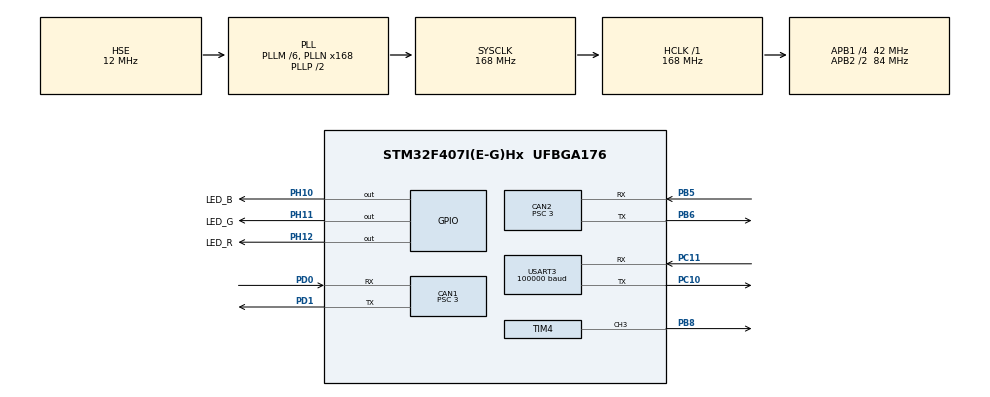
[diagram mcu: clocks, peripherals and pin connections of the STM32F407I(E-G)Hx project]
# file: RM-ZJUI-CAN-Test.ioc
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CAN1.BS1=CAN_BS1_10TQ
CAN1.BS2=CAN_BS2_3TQ
CAN1.CalculateBaudRate=1000000
CAN1.CalculateTimeBit=1000
CAN1.CalculateTimeQuantum=71.42857142857143
CAN1.Prescaler=3
CAN2.BS1=CAN_BS1_10TQ
CAN2.BS2=CAN_BS2_3TQ
CAN2.CalculateBaudRate=1000000
CAN2.CalculateTimeBit=1000
CAN2.CalculateTimeQuantum=71.42857142857143
CAN2.Prescaler=3
Dma.Request0=USART3_RX
Dma.USART3_RX.0.Direction=DMA_PERIPH_TO_MEMORY
Dma.USART3_RX.0.FIFOMode=DMA_FIFOMODE_DISABLE
Dma.USART3_RX.0.Instance=DMA1_Stream1
Dma.USART3_RX.0.MemDataAlignment=DMA_MDATAALIGN_BYTE
Dma.USART3_RX.0.MemInc=DMA_MINC_ENABLE
Dma.USART3_RX.0.Mode=DMA_NORMAL
Dma.USART3_RX.0.PeriphDataAlignment=DMA_PDATAALIGN_BYTE
Dma.USART3_RX.0.PeriphInc=DMA_PINC_DISABLE
Dma.USART3_RX.0.Priority=DMA_PRIORITY_VERY_HIGH
Mcu.Family=STM32F4
Mcu.Name=STM32F407I(E-G)Hx
Mcu.Package=UFBGA176
NVIC.CAN1_RX0_IRQn=true\:0\:0\:false\:false\:true\:true\:true\:true
NVIC.CAN1_RX1_IRQn=true\:0\:0\:false\:false\:true\:true\:true\:true
NVIC.CAN2_RX0_IRQn=true\:0\:0\:false\:false\:true\:true\:true\:true
NVIC.CAN2_RX1_IRQn=true\:0\:0\:false\:false\:true\:true\:true\:true
NVIC.DMA1_Stream1_IRQn=true\:0\:0\:false\:false\:true\:false\:true\:true
NVIC.PriorityGroup=NVIC_PRIORITYGROUP_4
NVIC.TIM2_IRQn=true\:0\:0\:false\:false\:true\:true\:true\:true
NVIC.TIM3_IRQn=true\:0\:0\:false\:false\:true\:true\:true\:true
NVIC.TIM7_IRQn=true\:0\:0\:false\:false\:true\:true\:true\:true
NVIC.USART3_IRQn=true\:0\:0\:false\:false\:true\:true\:true\:true
PA13.Mode=Serial_Wire
PA13.Signal=SYS_JTMS-SWDIO
PA14.Mode=Serial_Wire
PA14.Signal=SYS_JTCK-SWCLK
PB5.Mode=CAN_Activate
PB5.Signal=CAN2_RX
PB6.Mode=CAN_Activate
PB6.Signal=CAN2_TX
PB8.Signal=S_TIM4_CH3
PC10.Mode=Asynchronous
PC10.Signal=USART3_TX
PC11.Mode=Asynchronous
PC11.Signal=USART3_RX
PD0.Mode=CAN_Activate
PD0.Signal=CAN1_RX
PD1.Mode=CAN_Activate
PD1.Signal=CAN1_TX
PH0-OSC_IN.Mode=HSE-External-Oscillator
PH0-OSC_IN.Signal=RCC_OSC_IN
PH1-OSC_OUT.Mode=HSE-External-Oscillator
PH1-OSC_OUT.Signal=RCC_OSC_OUT
PH10.GPIO_Label=LED_B
PH10.Signal=GPIO_Output
PH11.GPIO_Label=LED_G
PH11.Signal=GPIO_Output
PH12.GPIO_Label=LED_R
PH12.Signal=GPIO_Output
ProjectManager.HeapSize=0x200
ProjectManager.StackSize=0x400
ProjectManager.TargetToolchain=Makefile
RCC.48MHZClocksFreq_Value=84000000
RCC.AHBFreq_Value=168000000
RCC.APB1CLKDivider=RCC_HCLK_DIV4
RCC.APB1Freq_Value=42000000
RCC.APB1TimFreq_Value=84000000
RCC.APB2CLKDivider=RCC_HCLK_DIV2
RCC.APB2Freq_Value=84000000
RCC.APB2TimFreq_Value=168000000
RCC.CortexFreq_Value=168000000
RCC.HCLKFreq_Value=168000000
RCC.HSE_VALUE=12000000
RCC.HSI_VALUE=16000000
RCC.LSE_VALUE=32768
RCC.PLLM=6
RCC.PLLN=168
RCC.PLLSourceVirtual=RCC_PLLSOURCE_HSE
RCC.SYSCLKFreq_VALUE=168000000
RCC.SYSCLKSource=RCC_SYSCLKSOURCE_PLLCLK
RCC.VCOOutputFreq_Value=336000000
SH.S_TIM4_CH3.0=TIM4_CH3,PWM Generation3 CH3
TIM2.Period=1000-1
TIM2.Prescaler=84-1
TIM3.Period=1000-1
TIM3.Prescaler=84-1
TIM4.AutoReloadPreload=TIM_AUTORELOAD_PRELOAD_ENABLE
TIM4.Channel-PWM\ Generation3\ CH3=TIM_CHANNEL_3
TIM4.Period=21000
TIM4.Pulse-PWM\ Generation3\ CH3=10500
TIM7.Period=2000-1
TIM7.Prescaler=8400-1
USART3.BaudRate=100000
USART3.VirtualMode=VM_ASYNC
USART3.WordLength=WORDLENGTH_8B
VP_TIM2_VS_ClockSourceINT.Mode=Internal
VP_TIM3_VS_ClockSourceINT.Mode=Internal
VP_TIM7_VS_ClockSourceINT.Mode=Enable_Timer
board=custom

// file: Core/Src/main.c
/* USER CODE BEGIN Header */
/**
  ******************************************************************************
  * @file           : main.c
  * @brief          : Main program body
  ******************************************************************************
  * @attention
  *
  * Copyright (c) 2024 STMicroelectronics.
  * All rights reserved.
  *
  * This software is licensed under terms that can be found in the LICENSE file
  * in the root directory of this software component.
  * If no LICENSE file comes with this software, it is provided AS-IS.
  *
  ******************************************************************************
  */
/* USER CODE END Header */
#include "main.h"
#include "can.h"
#include "dma.h"
#include "tim.h"
#include "usart.h"
#include "gpio.h"

/* USER CODE BEGIN Includes */
#include "rc.h"
#include "motors.h"
#include "buzzer.h"
#include "pid.h"
/* USER CODE END Includes */

/* USER CODE BEGIN PV */
extern RC_Type rc;
extern float Shooter_Velocity[2]; // 单位: rpm
extern float Loader_Velocity;     // 单位: rpm
/* USER CODE END PV */

void SystemClock_Config(void);

int main(void)
{

  /* MCU Configuration--------------------------------------------------------*/

  /* Reset of all peripherals, Initializes the Flash interface and the Systick. */
  HAL_Init();

  /* Configure the system clock */
  SystemClock_Config();

  /* Initialize all configured peripherals */
  MX_GPIO_Init();
  MX_DMA_Init();
  MX_USART3_UART_Init();
  MX_CAN1_Init();
  MX_CAN2_Init();
  MX_TIM2_Init();
  MX_TIM3_Init();
  MX_TIM7_Init();
  MX_TIM4_Init();
  /* USER CODE BEGIN 2 */

  //GPIO 点灯
  HAL_GPIO_WritePin(GPIOH, LED_R_Pin, GPIO_PIN_RESET);
  HAL_GPIO_WritePin(GPIOH, LED_G_Pin, GPIO_PIN_RESET);
  HAL_GPIO_WritePin(GPIOH, LED_B_Pin, GPIO_PIN_RESET);

  // 亮红灯
  HAL_GPIO_WritePin(GPIOH, LED_R_Pin, GPIO_PIN_SET);

  // 初始化
  // Buzzer_beep();
  Dbus_Init();     // 初始化DJI遥控器
  Enable_Motors(); // 初始化DJI电机
  HAL_Delay(1000);

  // PID 参数填装
  pid_type_def shoot_pram_up;    // PID 初始化
  pid_type_def shoot_pram_down;  // PID 初始化
  pid_type_def shoot_pram_trig;  // PID 初始化
  static const float PID_ARG[3] = {80.0f,0.0f,30.0f};
  static const float PID_ARG_trig[3] = {50.0f,0.0f,40.0f};
  static const float PID_MAX_OUT = 1000.0f;
  static const float PID_MAX_IOUT = 0.0f;

  static const float shoot_rpm = 300; // 发射速度
  float load_rpm = 400.0f; // 装弹速度

  // PID 初始化
  PID_init(&shoot_pram_up, PID_POSITION, PID_ARG, PID_MAX_OUT, PID_MAX_IOUT);
  PID_init(&shoot_pram_down, PID_POSITION, PID_ARG, PID_MAX_OUT, PID_MAX_IOUT);
  PID_init(&shoot_pram_trig, PID_POSITION, PID_ARG_trig, 1000.0f, 0.0f);

  // 亮绿灯
  HAL_GPIO_WritePin(GPIOH, LED_R_Pin, GPIO_PIN_RESET);
  HAL_GPIO_WritePin(GPIOH, LED_G_Pin, GPIO_PIN_SET);

  /* USER CODE END 2 */

  /* Infinite loop */
  while (1)
  {

    /* USER CODE BEGIN 3 */

    if(rc.sw1 == 1){HAL_GPIO_WritePin(GPIOH,LED_B_Pin,GPIO_PIN_SET);}
    else{HAL_GPIO_WritePin(GPIOH,LED_B_Pin,GPIO_PIN_RESET);}
    HAL_GPIO_TogglePin(GPIOH,LED_G_Pin);

    // 8-下摩擦轮 (正方向)
    // 7-上摩擦轮 (负方向)
    // 6-拨弹盘

    PID_calc(&shoot_pram_up, Shooter_Velocity[0], shoot_rpm*-(rc.sw1/2));
    PID_calc(&shoot_pram_down, Shooter_Velocity[1], shoot_rpm*(rc.sw1/2));
    PID_calc(&shoot_pram_trig, Loader_Velocity, load_rpm*rc.RY);

    Gimbal_CAN_Tx(0,shoot_pram_trig.out,shoot_pram_up.out,shoot_pram_down.out); // 根据 CAN 分析仪发现没有发送 CAN 信号
    HAL_Delay(50);

  }
  /* USER CODE END 3 */
}

void SystemClock_Config(void)
{
  RCC_OscInitTypeDef RCC_OscInitStruct = {0};
  RCC_ClkInitTypeDef RCC_ClkInitStruct = {0};

  /** Configure the main internal regulator output voltage
  */
  __HAL_RCC_PWR_CLK_ENABLE();
  __HAL_PWR_VOLTAGESCALING_CONFIG(PWR_REGULATOR_VOLTAGE_SCALE1);

  /** Initializes the RCC Oscillators according to the specified parameters
  * in the RCC_OscInitTypeDef structure.
  */
  RCC_OscInitStruct.OscillatorType = RCC_OSCILLATORTYPE_HSE;
  RCC_OscInitStruct.HSEState = RCC_HSE_ON;
  RCC_OscInitStruct.PLL.PLLState = RCC_PLL_ON;
  RCC_OscInitStruct.PLL.PLLSource = RCC_PLLSOURCE_HSE;
  RCC_OscInitStruct.PLL.PLLM = 6;
  RCC_OscInitStruct.PLL.PLLN = 168;
  RCC_OscInitStruct.PLL.PLLP = RCC_PLLP_DIV2;
  RCC_OscInitStruct.PLL.PLLQ = 4;
  if (HAL_RCC_OscConfig(&RCC_OscInitStruct) != HAL_OK)
  {
    Error_Handler();
  }

  /** Initializes the CPU, AHB and APB buses clocks
  */
  RCC_ClkInitStruct.ClockType = RCC_CLOCKTYPE_HCLK|RCC_CLOCKTYPE_SYSCLK
                              |RCC_CLOCKTYPE_PCLK1|RCC_CLOCKTYPE_PCLK2;
  RCC_ClkInitStruct.SYSCLKSource = RCC_SYSCLKSOURCE_PLLCLK;
  RCC_ClkInitStruct.AHBCLKDivider = RCC_SYSCLK_DIV1;
  RCC_ClkInitStruct.APB1CLKDivider = RCC_HCLK_DIV4;
  RCC_ClkInitStruct.APB2CLKDivider = RCC_HCLK_DIV2;

  if (HAL_RCC_ClockConfig(&RCC_ClkInitStruct, FLASH_LATENCY_5) != HAL_OK)
  {
    Error_Handler();
  }
}

void Error_Handler(void)
{
  __disable_irq();
  while (1)
  {
  }
}
